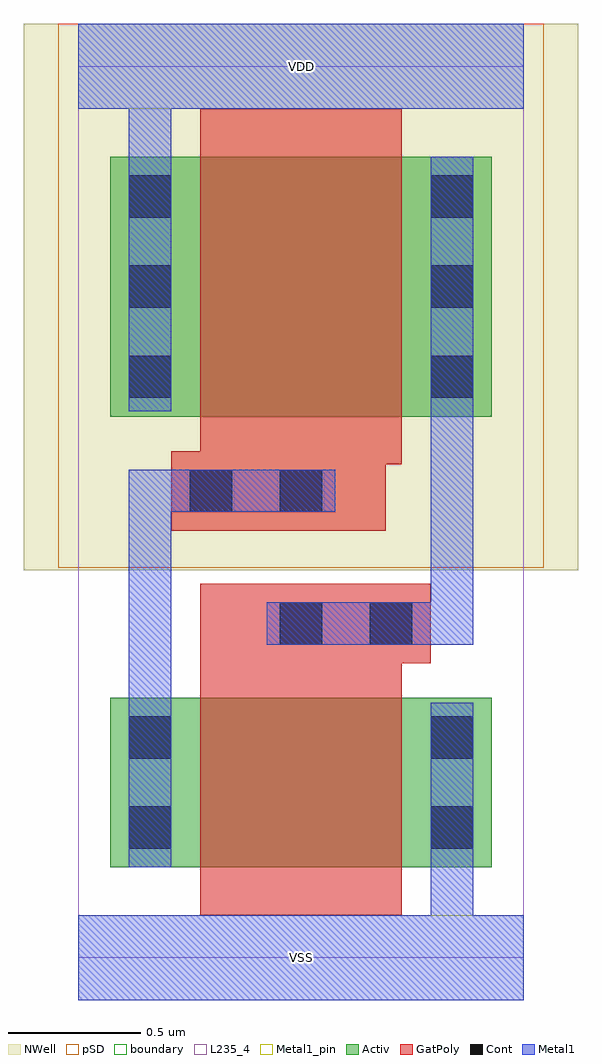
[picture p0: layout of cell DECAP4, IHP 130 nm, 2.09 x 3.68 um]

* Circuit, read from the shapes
.subckt DECAP4 VDD VSS
XM1 VSS n1 n2 VSUBS sg13_lv_nmos w=0.64u l=0.76u
XM2 n1 n2 VDD n3 sg13_lv_pmos w=0.98u l=0.76u
.ends

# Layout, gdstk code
import gdstk
lib = gdstk.Library(unit=1e-6, precision=1e-09)
def R(c, l, rs):  # rectangles x0, y0, x1, y1
    for r in rs: c.add(gdstk.rectangle(r[:2], r[2:], *l))
def A(c, l, x, y, w, h, nx, ny, dx, dy):  # array of equal rectangles
    R(c, l, [(x+i*dx, y+j*dy, x+i*dx+w, y+j*dy+h) for i in range(nx) for j in range(ny)])
def P(c, l, *ps):  # polygons
    for p in ps: c.add(gdstk.Polygon(p, *l))
Activ = (1, 0)
GatPoly = (5, 0)
Cont = (6, 0)
Metal1 = (8, 0)
Metal1_pin = (8, 2)
pSD = (14, 0)
NWell = (31, 0)
boundary = (189, 4)
L235_4 = (235, 4)

decap4 = lib.new_cell('DECAP4')
R(decap4, Activ, [(0.12,0.34,1.56,0.98), (0.12,2.04,1.56,3.02)])
P(decap4, GatPoly, [(0.35,1.61),(0.35,1.91),(0.46,1.91),(0.46,3.2),(1.22,3.2),(1.22,1.86),(1.16,1.86),(1.16,1.61)],
  [(0.46,0.16),(0.46,1.41),(1.33,1.41),(1.33,1.11),(1.22,1.11),(1.22,0.16)])
A(decap4, Cont, 0.19, 2.11, 0.16, 0.16, 1, 3, 0, 0.34)
A(decap4, Cont, 1.33, 2.11, 0.16, 0.16, 1, 3, 0, 0.34)
R(decap4, Cont, [(0.19,0.41,0.35,0.57), (1.33,0.41,1.49,0.57), (0.19,0.75,0.35,0.91), (1.33,0.75,1.49,0.91), (0.76,1.18,0.92,1.34), (1.1,1.18,1.26,1.34), (0.42,1.68,0.58,1.84), (0.76,1.68,0.92,1.84)])
P(decap4, Metal1, [(0.19,2.06),(0.19,3.2),(0,3.2),(0,3.52),(1.68,3.52),(1.68,3.2),(0.35,3.2),(0.35,2.06)],
  [(0,-0.16),(0,0.16),(1.33,0.16),(1.33,0.96),(1.49,0.96),(1.49,0.16),(1.68,0.16),(1.68,-0.16)],
  [(0.71,1.18),(0.71,1.34),(1.33,1.34),(1.33,3.02),(1.49,3.02),(1.49,1.18)],
  [(0.19,0.34),(0.19,1.84),(0.97,1.84),(0.97,1.68),(0.35,1.68),(0.35,0.34)])
R(decap4, Metal1_pin, [(0,-0.16,1.68,0.16), (0,3.2,1.68,3.52)])
R(decap4, pSD, [(-0.075,1.47,1.755,3.52)])
R(decap4, NWell, [(-0.205,1.46,1.885,3.52)])
R(decap4, boundary, [(0,0,1.68,3.36)])
R(decap4, L235_4, [(0,0,1.68,3.36)])
decap4.add(gdstk.Label('VDD', (0.84,3.36), layer=8, texttype=25))
decap4.add(gdstk.Label('VSS', (0.84,0), layer=8, texttype=25))

lib.write_gds('DECAP4.gds')
